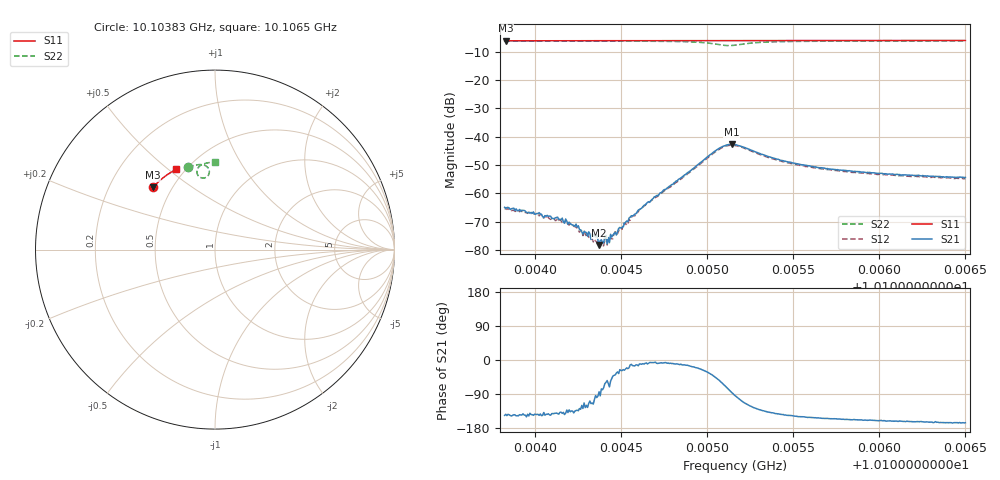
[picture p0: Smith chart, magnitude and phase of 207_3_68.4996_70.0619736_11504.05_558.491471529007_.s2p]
#  HZ  S  RI  R  50.00
! Rohde & Schwarz Vector Network Analyzer
! Rohde-Schwarz,ZNB20-2Port,1311601062101988,3.16
! Created: UTC 3/20/2024, 5:13:00 PM
! freq[Hz]  re:S11  im:S11  re:S21  im:S21  re:S12  im:S12  re:S22  im:S22
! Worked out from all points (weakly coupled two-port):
!   401 points, 10.10383 GHz to 10.1065 GHz, reference 50 ohm
!   highest |S21| = -42.68 dB at 10.10514 GHz (marker M1); lowest = -78.2 dB at 10.10437 GHz (marker M2)
!   lowest |S11| = -6.2 dB at 10.10383 GHz (marker M3), VSWR 2.92, Z = 19.7 + j18 ohm
!   |S11| at or under -10 dB: nowhere
!   |S22| runs from -7.9 to -6.2 dB; largest |S21 - S12| = 0.00078
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1.0103825e10  -0.3463 0.3473  -0.000474 -0.000319  -0.000396 -0.000349  -0.1492 0.4589
1.0103832e10  -0.3459 0.3474  -0.000441 -0.000329  -0.000405 -0.000354  -0.1488 0.4589
1.0103979e10  -0.3398 0.3541  -0.000375 -0.000271  -0.000344 -0.000277  -0.139 0.4624
1.0104147e10  -0.3328 0.3615  -0.00026 -0.000234  -0.00025 -0.000237  -0.1273 0.4659
1.010424e10  -0.3285 0.3653  -0.000197 -0.000209  -0.000147 -0.000206  -0.1207 0.4678
1.0104274e10  -0.3271 0.3669  -0.000104 -0.000181  -9.82e-05 -0.000197  -0.1182 0.4685
1.0104348e10  -0.3239 0.37  -4.62e-05 -0.000185  -2.79e-05 -0.00015  -0.1127 0.4699
1.0104374e10  -0.3227 0.3711  1.31e-05 -0.000122  2.66e-05 -0.000119  -0.1105 0.4704
1.0104388e10  -0.3222 0.3717  3.62e-05 -0.000148  2.2e-05 -0.000136  -0.1094 0.4706
1.0104401e10  -0.3216 0.3722  3.94e-05 -0.000129  3.47e-05 -0.000114  -0.1084 0.4708
1.0104435e10  -0.3202 0.3736  4.39e-05 -0.000128  9e-05 -0.000122  -0.1056 0.4713
1.0104548e10  -0.3148 0.3783  0.000343 -0.000128  0.000336 -6.91e-05  -0.096 0.473
1.0104622e10  -0.3117 0.3813  0.000538 -0.000107  0.000541 -4.2e-05  -0.0889 0.4737
1.0104723e10  -0.307 0.3854  0.000944 -0.000142  0.000939 -6.22e-05  -0.078 0.474
1.0105058e10  -0.2911 0.3979  0.00389 -0.00432  0.00414 -0.00373  -0.0326 0.4252
1.0105104e10  -0.2889 0.3996  0.00271 -0.00641  0.00322 -0.00589  -0.047 0.4043
1.0105145e10  -0.2871 0.401  0.000584 -0.00732  0.00128 -0.00696  -0.0704 0.3986
1.0105165e10  -0.2863 0.4017  -0.000473 -0.00723  0.000202 -0.00698  -0.0815 0.402
1.0105412e10  -0.2745 0.4111  -0.00316 -0.00246  -0.00278 -0.00263  -0.0864 0.4644
1.0105613e10  -0.2646 0.4182  -0.00264 -0.00141  -0.0024 -0.00157  -0.0656 0.4765
1.0106062e10  -0.2419 0.4331  -0.00208 -0.000727  -0.00191 -0.000853  -0.0292 0.4854
1.0106504e10  -0.2185 0.4463  -0.00186 -0.000479  -0.00172 -0.000607  0.00189 0.4881
